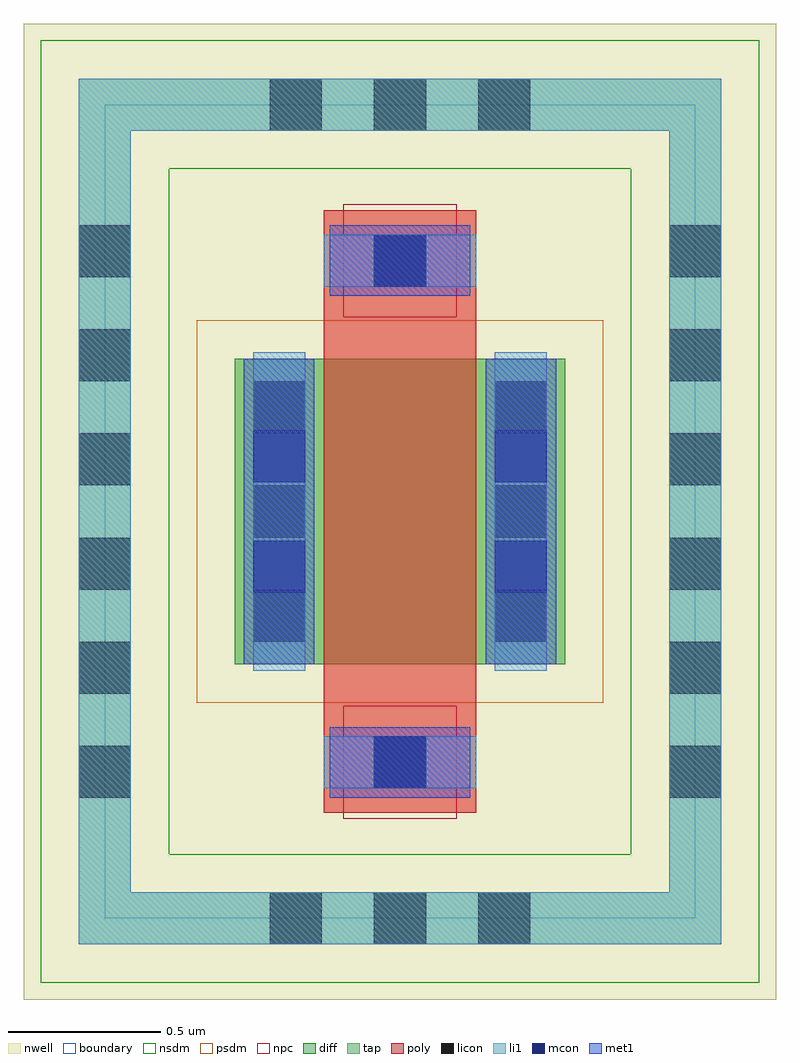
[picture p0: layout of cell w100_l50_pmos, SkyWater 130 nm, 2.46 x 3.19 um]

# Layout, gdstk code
import gdstk
lib = gdstk.Library(unit=1e-6, precision=1e-09)
def R(c, l, rs):  # rectangles x0, y0, x1, y1
    for r in rs: c.add(gdstk.rectangle(r[:2], r[2:], *l))
def A(c, l, x, y, w, h, nx, ny, dx, dy):  # array of equal rectangles
    R(c, l, [(x+i*dx, y+j*dy, x+i*dx+w, y+j*dy+h) for i in range(nx) for j in range(ny)])
nwell = (64, 20)
diff = (65, 20)
tap = (65, 44)
poly = (66, 20)
licon = (66, 44)
li1 = (67, 20)
mcon = (67, 44)
met1 = (68, 20)
nsdm = (93, 44)
psdm = (94, 20)
npc = (95, 20)
boundary = (235, 4)

sky130_fd_pr__pfet_01v8 = lib.new_cell('sky130_fd_pr__pfet_01v8')

w100_l50_pmos = lib.new_cell('w100_l50_pmos')
R(w100_l50_pmos, nwell, [(-1.23,-1.595,1.23,1.595)])
R(w100_l50_pmos, diff, [(-0.54,-0.5,0.54,0.5)])
R(w100_l50_pmos, tap, [(-1.05,-1.415,1.05,-1.245), (-1.05,-1.245,-0.88,1.245), (0.88,-1.245,1.05,1.245), (-1.05,1.245,1.05,1.415)])
R(w100_l50_pmos, poly, [(-0.25,-0.985,0.25,0.985)])
A(w100_l50_pmos, licon, -0.425, -1.415, 0.17, 0.17, 3, 2, 0.34, 2.66)
A(w100_l50_pmos, licon, -1.05, -0.935, 0.17, 0.17, 1, 6, 0, 0.34)
A(w100_l50_pmos, licon, 0.88, -0.935, 0.17, 0.17, 1, 6, 0, 0.34)
A(w100_l50_pmos, licon, -0.48, -0.425, 0.17, 0.17, 1, 3, 0, 0.34)
A(w100_l50_pmos, licon, 0.31, -0.425, 0.17, 0.17, 1, 3, 0, 0.34)
R(w100_l50_pmos, licon, [(-0.085,-0.905,0.085,-0.735), (-0.085,0.735,0.085,0.905)])
R(w100_l50_pmos, li1, [(-1.05,-1.415,1.05,-1.245), (-1.05,-1.245,-0.88,1.245), (0.88,-1.245,1.05,1.245), (-0.25,-0.905,0.25,-0.735), (-0.48,-0.52,-0.31,0.52), (0.31,-0.52,0.48,0.52), (-0.25,0.735,0.25,0.905), (-1.05,1.245,1.05,1.415)])
R(w100_l50_pmos, mcon, [(-0.085,-0.905,0.085,-0.735), (-0.48,-0.265,-0.31,-0.095), (0.31,-0.265,0.48,-0.095), (-0.48,0.095,-0.31,0.265), (0.31,0.095,0.48,0.265), (-0.085,0.735,0.085,0.905)])
R(w100_l50_pmos, met1, [(-0.23,-0.935,0.23,-0.705), (-0.51,-0.5,-0.28,0.5), (0.28,-0.5,0.51,0.5), (-0.23,0.705,0.23,0.935)])
R(w100_l50_pmos, nsdm, [(-1.175,-1.54,1.175,-1.12), (-1.175,-1.12,-0.755,1.12), (0.755,-1.12,1.175,1.12), (-1.175,1.12,1.175,1.54)])
R(w100_l50_pmos, psdm, [(-0.665,-0.625,0.665,0.625)])
R(w100_l50_pmos, npc, [(-0.185,-1.005,0.185,-0.635), (-0.185,0.635,0.185,1.005)])
R(w100_l50_pmos, boundary, [(-0.965,-1.33,0.965,1.33)])
w100_l50_pmos.add(gdstk.Reference(sky130_fd_pr__pfet_01v8, (0,0)))

lib.write_gds('w100_l50_pmos.gds')
